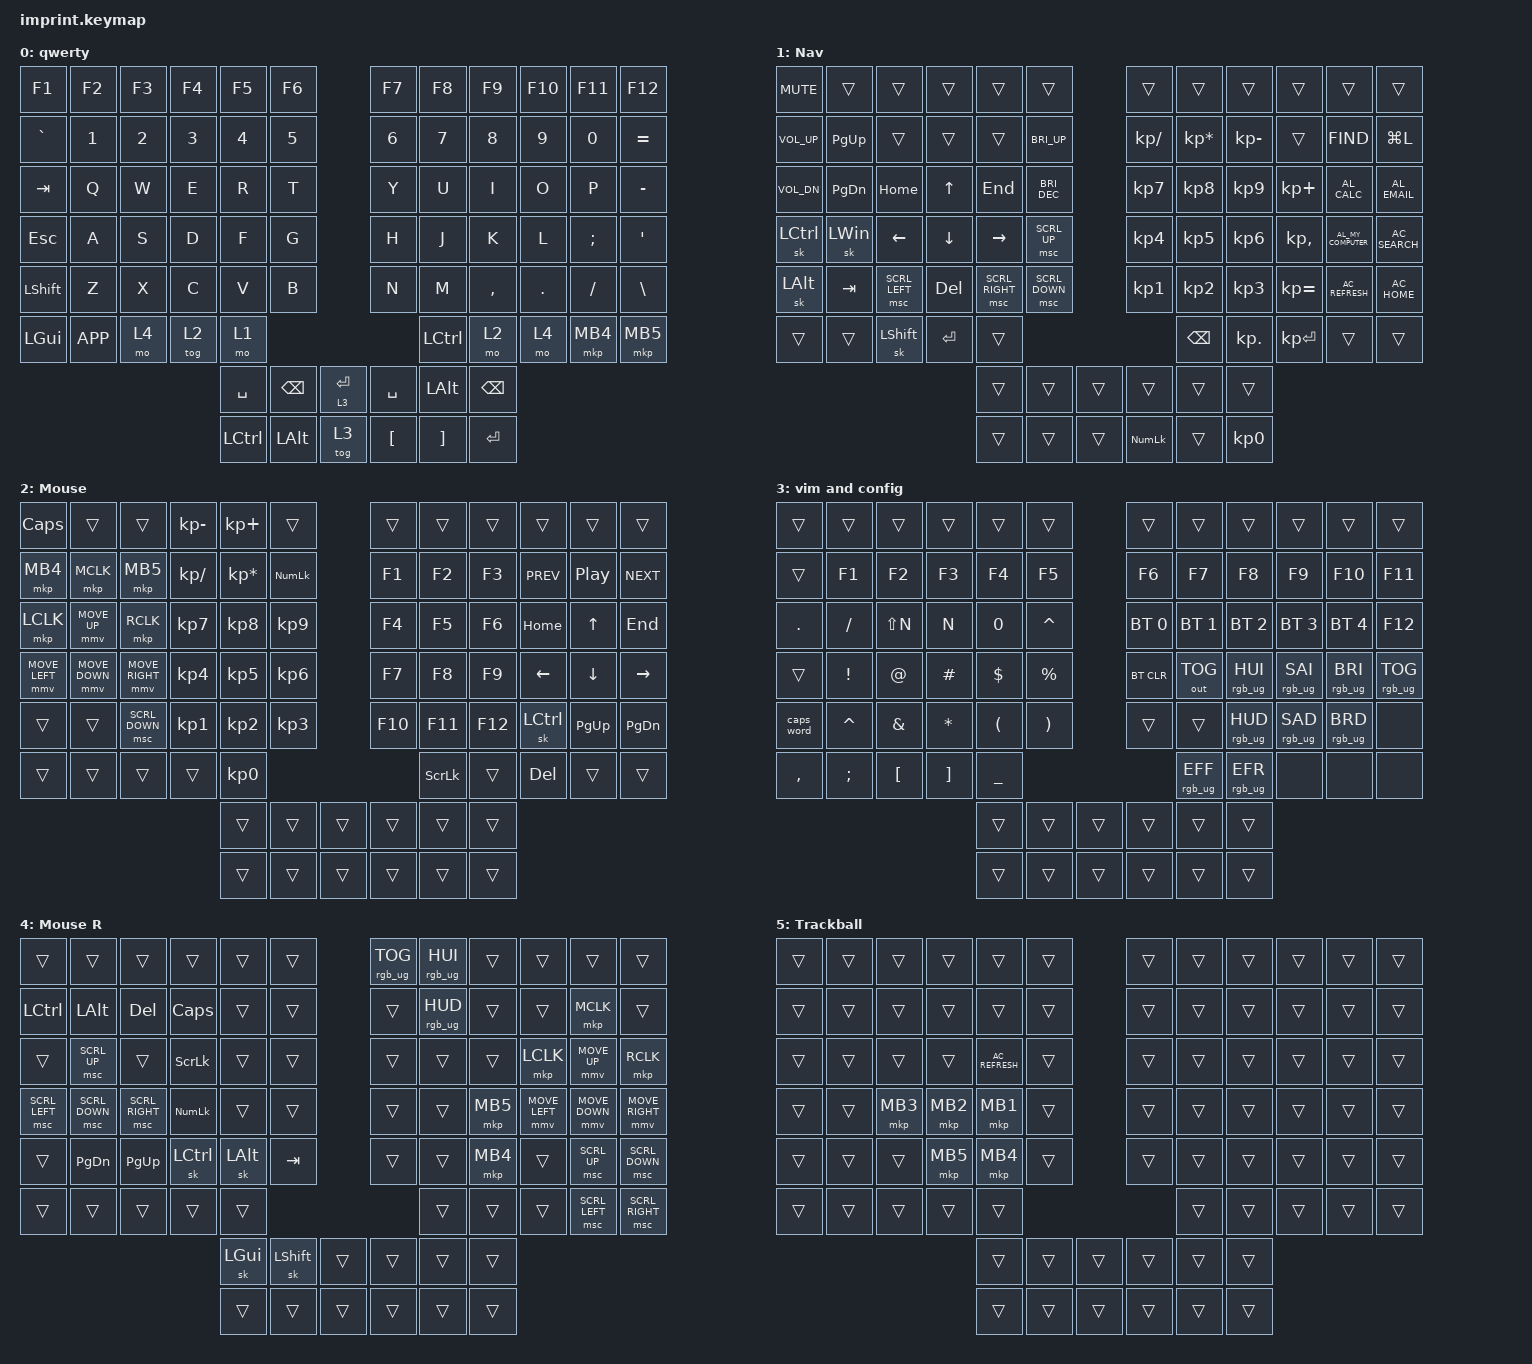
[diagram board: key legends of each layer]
/*
 * Cyboard Imprint keymap ported from a Redox Wireless Vial layout
 * (source: 09_21_2026.vil). Written to open cleanly in the Keymap Editor
 * (nickcoutsos.github.io/keymap-editor): layers are referenced by number,
 * no #define shortcuts.
 *
 * Physical layout: Imprint Function Row, 5-key bottom row (82 keys).
 *
 * Layers
 *   0 Base       Redox layer 0
 *   1 Nav        Redox layer 1  (hold left bottom-row key 4)
 *   2 Mouse      Redox layer 2  (toggle: left 5th bottom-row key)
 *   3 Symbols    Redox layer 5  (hold left-thumb Enter)
 *   4 Mouse R    Redox layer 6  (hold left bottom-row key 3)
 *   5 Trackball  NEW - turns on by itself when the right ball moves
 *
 * Where the Redox keys went (both hands mirror each other):
 *   - Function row: new on the Imprint. F1-F12 on Base, see-through on
 *     every other layer.
 *   - Number/Q/A/Z rows: identical positions.
 *   - Redox 4-key bottom row: same columns on the Imprint bottom row.
 *   - Redox inner-column TOP key (TG Mouse | [ ): the extra 5th
 *     bottom-row key, right under your index finger.
 *   - Thumb arc 1 (row nearest the keys): Space, Backspace, Enter/Symbols
 *     on the left; Space, Alt, Backspace on the right.
 *   - Thumb arc 2: Ctrl, Alt, F2 on the left; ], -, Enter on the right.
 *
 * Added for the Imprint (Redox had no Bluetooth): on the Symbols layer,
 * right hand, on keys that were empty:
 *   Y U I O P = Bluetooth profile 1-5,  H = clear current BT pairing,
 *   J = toggle USB/Bluetooth output,    ' = RGB on/off.
 */

#include <input/processors.dtsi>
#include <dt-bindings/zmk/input_transform.h>
#include <behaviors.dtsi>
#include <dt-bindings/zmk/bt.h>
#include <dt-bindings/zmk/keys.h>
#include <dt-bindings/zmk/outputs.h>
#include <dt-bindings/zmk/pointing.h>
#include <dt-bindings/zmk/rgb.h>

/* Per-layer underglow colors: edit config/layer_rgb.dtsi (or generate it
 * with rgb-emulator/index.html). */

#include "layer_rgb.dtsi"

/* Match the Vial settings: tapping term 200 ms (ZMK default), tap-then-hold
 * repeats the tap key like QMK, one-shot mods time out after 5 s, mouse keys
 * reach full speed in ~640 ms. */

&lt { quick-tap-ms = <200>; };

&sk { release-after-ms = <5000>; };

&mmv { time-to-max-speed-ms = <640>; };

/ {
    chosen { zmk,physical-layout = &physical_layout_imprint_function_row_full_bottom_row; };

    keymap {
        compatible = "zmk,keymap";

        // 0 - Redox layer 0

        qwerty_layer {
            display-name = "qwerty";
            bindings = <
&kp F1     &kp F2     &kp F3  &kp F4  &kp F5     &kp F6                   &kp F7            &kp F8             &kp F9     &kp F10  &kp F11   &kp F12
&kp GRAVE  &kp N1     &kp N2  &kp N3  &kp N4     &kp N5                   &kp N6            &kp N7             &kp N8     &kp N9   &kp N0    &kp EQUAL
&kp TAB    &kp Q      &kp W   &kp E   &kp R      &kp T                    &kp Y             &kp U              &kp I      &kp O    &kp P     &kp MINUS
&kp ESC    &kp A      &kp S   &kp D   &kp F      &kp G                    &kp H             &kp J              &kp K      &kp L    &kp SEMI  &kp SQT
&kp LSHFT  &kp Z      &kp X   &kp C   &kp V      &kp B                    &kp N             &kp M              &kp COMMA  &kp DOT  &kp FSLH  &kp BSLH
&kp LGUI   &kp K_APP  &mo 4   &tog 2  &mo 1                                                 &kp LCTRL          &mo 2      &mo 4    &mkp MB4  &mkp MB5
                                      &kp SPACE  &kp BSPC  &lt 3 ENTER    &kp SPACE         &kp LALT           &kp BSPC
                                      &kp LCTRL  &kp LALT  &tog 3         &kp LEFT_BRACKET  &kp RIGHT_BRACKET  &kp RET
            >;
        };

        // 1 - Redox layer 1: nav, media, numpad (hold left bottom-row key 4)

        nav_layer {
            display-name = "Nav";
            bindings = <
&kp C_MUTE    &trans     &trans          &trans     &trans           &trans                    &trans          &trans           &trans        &trans        &trans                &trans
&kp C_VOL_UP  &kp PG_UP  &trans          &trans     &trans           &kp C_BRI_UP              &kp KP_DIVIDE   &kp KP_MULTIPLY  &kp KP_MINUS  &trans        &kp K_FIND            &kp LG(L)
&kp C_VOL_DN  &kp PG_DN  &kp HOME        &kp UP     &kp END          &kp C_BRI_DEC             &kp KP_N7       &kp KP_N8        &kp KP_N9     &kp KP_PLUS   &kp C_AL_CALC         &kp C_AL_EMAIL
&sk LCTRL     &sk LWIN   &kp LEFT        &kp DOWN   &kp RIGHT        &msc SCRL_UP              &kp KP_N4       &kp KP_N5        &kp KP_N6     &kp KP_COMMA  &kp C_AL_MY_COMPUTER  &kp C_AC_SEARCH
&sk LALT      &kp TAB    &msc SCRL_LEFT  &kp DEL    &msc SCRL_RIGHT  &msc SCRL_DOWN            &kp KP_N1       &kp KP_N2        &kp KP_N3     &kp KP_EQUAL  &kp C_AC_REFRESH      &kp C_AC_HOME
&trans        &trans     &sk LSHIFT      &kp ENTER  &trans                                                     &kp BSPC         &kp KP_DOT    &kp KP_ENTER  &trans                &trans
                                                    &trans           &trans          &trans    &trans          &trans           &trans
                                                    &trans           &trans          &trans    &kp KP_NUMLOCK  &trans           &kp KP_N0
            >;

            label = "nav";
        };

        // 2 - Redox layer 2: mouse, numpad, F-keys (toggle: left 5th bottom key)

        mouse_layer {
            display-name = "Mouse";
            bindings = <
&kp CAPS        &trans          &trans           &kp KP_MINUS   &kp KP_PLUS      &trans                    &trans   &trans    &trans   &trans      &trans     &trans
&mkp MB4        &mkp MCLK       &mkp MB5         &kp KP_DIVIDE  &kp KP_MULTIPLY  &kp KP_NUMLOCK            &kp F1   &kp F2    &kp F3   &kp C_PREV  &kp C_PP   &kp C_NEXT
&mkp LCLK       &mmv MOVE_UP    &mkp RCLK        &kp KP_N7      &kp KP_N8        &kp KP_N9                 &kp F4   &kp F5    &kp F6   &kp HOME    &kp UP     &kp END
&mmv MOVE_LEFT  &mmv MOVE_DOWN  &mmv MOVE_RIGHT  &kp KP_N4      &kp KP_N5        &kp KP_N6                 &kp F7   &kp F8    &kp F9   &kp LEFT    &kp DOWN   &kp RIGHT
&trans          &trans          &msc SCRL_DOWN   &kp KP_N1      &kp KP_N2        &kp KP_N3                 &kp F10  &kp F11   &kp F12  &sk LCTRL   &kp PG_UP  &kp PG_DN
&trans          &trans          &trans           &trans         &kp KP_NUMBER_0                                     &kp SLCK  &trans   &kp DEL     &trans     &trans
                                                                &trans           &trans          &trans    &trans   &trans    &trans
                                                                &trans           &trans          &trans    &trans   &trans    &trans
            >;
        };

        // 3 - Redox layer 5: symbols, F-keys, vim keys (hold left thumb Enter)

        vnc {
            display-name = "vim and config";
            bindings = <
&trans      &trans     &trans            &trans             &trans                &trans                           &trans        &trans           &trans           &trans           &trans           &trans
&trans      &kp F1     &kp F2            &kp F3             &kp F4                &kp F5                           &kp F6        &kp F7           &kp F8           &kp F9           &kp F10          &kp F11
&kp DOT     &kp FSLH   &kp LS(N)         &kp N              &kp N0                &kp CARET                        &bt BT_SEL 0  &bt BT_SEL 1     &bt BT_SEL 2     &bt BT_SEL 3     &bt BT_SEL 4     &kp F12
&trans      &kp EXCL   &kp AT            &kp HASH           &kp DLLR              &kp PRCNT                        &bt BT_CLR    &out OUT_TOG     &rgb_ug RGB_HUI  &rgb_ug RGB_SAI  &rgb_ug RGB_BRI  &rgb_ug RGB_TOG
&caps_word  &kp CARET  &kp AMPS          &kp ASTERISK       &kp LEFT_PARENTHESIS  &kp RIGHT_PARENTHESIS            &trans        &trans           &rgb_ug RGB_HUD  &rgb_ug RGB_SAD  &rgb_ug RGB_BRD  &none
&kp COMMA   &kp SEMI   &kp LEFT_BRACKET  &kp RIGHT_BRACKET  &kp UNDER                                                            &rgb_ug RGB_EFF  &rgb_ug RGB_EFR  &none            &none            &none
                                                            &trans                &trans                 &trans    &trans        &trans           &trans
                                                            &trans                &trans                 &trans    &trans        &trans           &trans
            >;
        };

        // 4 - Redox layer 6: right-hand mouse, scroll

        mouse_r_layer {
            display-name = "Mouse R";
            bindings = <
&trans          &trans          &trans           &trans          &trans    &trans               &rgb_ug RGB_TOG  &rgb_ug RGB_HUI  &trans    &trans          &trans          &trans
&kp LCTRL       &kp LALT        &kp DEL          &kp CAPS        &trans    &trans               &trans           &rgb_ug RGB_HUD  &trans    &trans          &mkp MCLK       &trans
&trans          &msc SCRL_UP    &trans           &kp SLCK        &trans    &trans               &trans           &trans           &trans    &mkp LCLK       &mmv MOVE_UP    &mkp RCLK
&msc SCRL_LEFT  &msc SCRL_DOWN  &msc SCRL_RIGHT  &kp KP_NUMLOCK  &trans    &trans               &trans           &trans           &mkp MB5  &mmv MOVE_LEFT  &mmv MOVE_DOWN  &mmv MOVE_RIGHT
&trans          &kp PG_DN       &kp PG_UP        &sk LCTRL       &sk LALT  &kp TAB              &trans           &trans           &mkp MB4  &trans          &msc SCRL_UP    &msc SCRL_DOWN
&trans          &trans          &trans           &trans          &trans                                          &trans           &trans    &trans          &msc SCRL_LEFT  &msc SCRL_RIGHT
                                                                 &sk LGUI  &sk LSHFT  &trans    &trans           &trans           &trans
                                                                 &trans    &trans     &trans    &trans           &trans           &trans
            >;
        };

        // 5 - Trackball: on by itself while the right ball moves (S/D/F = right/middle/left click)

        trackball_layer {
            display-name = "Trackball";
            bindings = <
&trans  &trans  &trans    &trans    &trans            &trans            &trans  &trans  &trans  &trans  &trans  &trans
&trans  &trans  &trans    &trans    &trans            &trans            &trans  &trans  &trans  &trans  &trans  &trans
&trans  &trans  &trans    &trans    &kp C_AC_REFRESH  &trans            &trans  &trans  &trans  &trans  &trans  &trans
&trans  &trans  &mkp MB3  &mkp MB2  &mkp MB1          &trans            &trans  &trans  &trans  &trans  &trans  &trans
&trans  &trans  &trans    &mkp MB5  &mkp MB4          &trans            &trans  &trans  &trans  &trans  &trans  &trans
&trans  &trans  &trans    &trans    &trans                                      &trans  &trans  &trans  &trans  &trans
                                    &trans            &trans  &trans    &trans  &trans  &trans
                                    &trans            &trans  &trans    &trans  &trans  &trans
            >;
        };
    };
};

/* ---------------------------------------------------------------------------
 * TRACKBALLS - the Keymap Editor doesn't show this part; edit it here.
 * The left half handles both balls, so after changing anything below you
 * only need to reflash the LEFT half.
 * ------------------------------------------------------------------------- */
/* Mouse-key speed (the arrow-style mouse keys on the Mouse layers): ZMK's
 * default x2, about 1200 px/s, close to the Redox's ~1300. */

&mmv_input_listener { input-processors = <&zip_xy_scaler 2 1>; };

/* Trackball layer timing. require-prior-idle-ms: if you typed in the last
 * 250 ms, a bumped ball won't switch the layer on. excluded-positions: keys
 * that keep the layer on when pressed (S D F clicks, Shift, Win, Ctrl, Alt),
 * so shift-click / ctrl-click work. Any other key switches it straight off. */

&zip_temp_layer {
    require-prior-idle-ms = <250>;
    excluded-positions = <38 39 40 48 60 76 77 74>;
};

/* RIGHT ball = mouse pointer. Moving it turns on layer 5 (Trackball)
 * until 500 ms after it stops. If you move or add layers in the editor,
 * update the 5 below to the Trackball layer's new number. */

&trackball_peripheral_listener {
    input-processors = <&zip_temp_layer 5 500>, <&zip_xy_scaler 3 4>;
};

/* LEFT ball = scroll wheel (Cyboard's default): 1/3 speed, and the page
 * moves the same way as the top of the ball. */

&trackball_central_listener {
    input-processors =
        <&zip_xy_scaler 1 40>,
        <&zip_xy_to_scroll_mapper>,
        <&zip_scroll_transform INPUT_TRANSFORM_Y_INVERT>;
};
